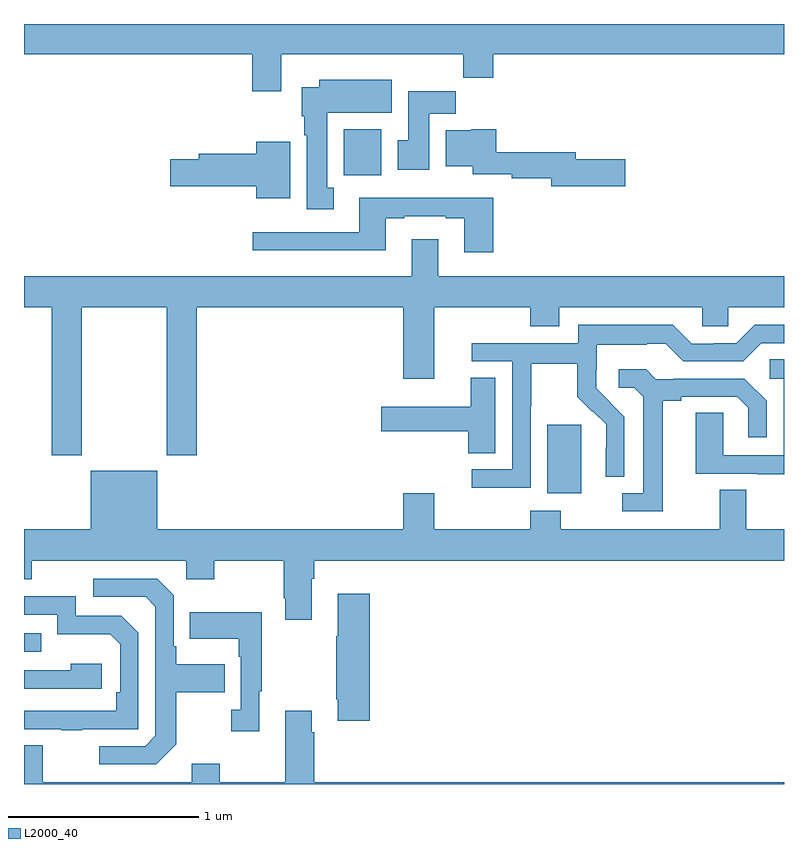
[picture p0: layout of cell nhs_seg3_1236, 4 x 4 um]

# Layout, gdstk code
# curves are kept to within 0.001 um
import gdstk
lib = gdstk.Library(unit=1e-6, precision=1e-09)
def R(c, l, rs):  # rectangles x0, y0, x1, y1
    for r in rs: c.add(gdstk.rectangle(r[:2], r[2:], *l))
def P(c, l, *ps):  # polygons
    for p in ps: c.add(gdstk.Polygon(p, *l))
L2000_40 = (2000, 40)

nhs_seg3_1236 = lib.new_cell('nhs_seg3_1236')
R(nhs_seg3_1236, L2000_40, [(175,707.097,175.091,707.193), (177.755,707.93,177.934,708.291), (176.684,709.604,176.881,709.846)])
P(nhs_seg3_1236, L2000_40, [(176.353,710.24),(177.313,710.24),(177.313,710.116),(177.47,710.116),(177.47,710.24),(179,710.24),(179,710.4),(175,710.4),(175,710.24),(176.201,710.24),(176.201,710.046),(176.353,710.046)],
  [(176.629,709.538),(176.596,709.538),(176.596,709.934),(176.935,709.934),(176.935,710.107),(176.555,710.107),(176.555,710.068),(176.462,710.068),(176.462,709.914),(176.474,709.914),(176.474,709.814),(176.489,709.814),(176.489,709.425),(176.629,709.425)],
  [(177.133,709.928),(177.272,709.928),(177.272,710.046),(177.023,710.046),(177.023,709.788),(176.966,709.788),(176.966,709.632),(177.133,709.632)],
  [(178.165,709.688),(177.904,709.688),(177.904,709.724),(177.485,709.724),(177.485,709.846),(177.354,709.846),(177.354,709.84),(177.221,709.84),(177.221,709.652),(177.362,709.652),(177.362,709.608),(177.568,709.608),(177.568,709.588),(177.776,709.588),(177.776,709.546),(178.165,709.546)],
  [(176.401,709.78),(176.222,709.78),(176.222,709.718),(175.919,709.718),(175.919,709.688),(175.77,709.688),(175.77,709.546),(176.222,709.546),(176.222,709.484),(176.401,709.484)],
  [(177.47,709.486),(176.765,709.486),(176.765,709.305),(176.205,709.305),(176.205,709.208),(176.905,709.208),(176.905,709.377),(177.001,709.377),(177.001,709.389),(177.221,709.389),(177.221,709.377),(177.317,709.377),(177.317,709.2),(177.47,709.2)],
  [(175.305,708.908),(175.75,708.908),(175.75,708.129),(175.91,708.129),(175.91,708.908),(176.996,708.908),(176.996,708.534),(177.16,708.534),(177.16,708.908),(177.665,708.908),(177.665,708.809),(177.817,708.809),(177.817,708.908),(178.569,708.908),(178.569,708.81),(178.707,708.81),(178.707,708.908),(179,708.908),(179,709.072),(177.181,709.072),(177.181,709.267),(177.041,709.267),(177.041,709.072),(175,709.072),(175,708.908),(175.145,708.908),(175.145,708.129),(175.305,708.129)],
  [(177.666,708.388),(177.669,708.388),(177.669,708.612),(177.913,708.612),(177.913,708.437),(177.99,708.36),(177.993,708.363),(178.064,708.293),(178.064,708.17),(178.062,708.17),(178.062,708.016),(178.158,708.016),(178.158,708.334),(178.012,708.482),(178.012,708.579),(178.014,708.579),(178.014,708.713),(178.277,708.713),(178.277,708.717),(178.377,708.717),(178.47,708.624),(178.785,708.624),(178.881,708.72),(179,708.72),(179,708.816),(178.845,708.816),(178.749,708.72),(178.631,708.72),(178.631,708.717),(178.515,708.717),(178.415,708.817),(177.918,708.817),(177.918,708.72),(177.357,708.72),(177.357,708.624),(177.57,708.624),(177.57,708.057),(177.357,708.057),(177.357,707.959),(177.666,707.959)],
  [(179,708.635),(178.926,708.635),(178.926,708.534),(178.998,708.534),(178.998,708.129),(178.68,708.129),(178.68,708.353),(178.535,708.353),(178.535,708.033),(178.859,708.033),(178.859,708.029),(179,708.029)],
  [(178.363,708.416),(178.459,708.416),(178.459,708.438),(178.754,708.438),(178.811,708.381),(178.811,708.225),(178.908,708.225),(178.908,708.418),(178.792,708.534),(178.42,708.534),(178.42,708.531),(178.326,708.531),(178.274,708.583),(178.131,708.583),(178.131,708.486),(178.212,708.486),(178.259,708.439),(178.259,707.931),(178.149,707.931),(178.149,707.835),(178.363,707.835)],
  [(177.481,708.539),(177.35,708.539),(177.35,708.385),(176.88,708.385),(176.88,708.256),(177.338,708.256),(177.338,708.142),(177.481,708.142)],
  [(176.515,707.48),(176.528,707.48),(176.528,707.576),(179,707.576),(179,707.74),(178.801,707.74),(178.801,707.948),(178.661,707.948),(178.661,707.74),(177.825,707.74),(177.825,707.839),(177.665,707.839),(177.665,707.74),(177.16,707.74),(177.16,707.929),(176.996,707.929),(176.996,707.74),(175.702,707.74),(175.702,708.049),(175.352,708.049),(175.352,707.74),(175,707.74),(175,707.477),(175.041,707.477),(175.041,707.576),(175.854,707.576),(175.854,707.477),(176.001,707.477),(176.001,707.576),(176.368,707.576),(176.368,707.377),(176.375,707.377),(176.375,707.265),(176.515,707.265)],
  [(175.801,706.609),(175.801,706.882),(176.057,706.882),(176.057,707.029),(175.801,707.029),(175.801,707.125),(175.788,707.125),(175.788,707.394),(175.701,707.481),(175.365,707.481),(175.365,707.385),(175.641,707.385),(175.692,707.334),(175.692,706.653),(175.638,706.599),(175.395,706.599),(175.395,706.503),(175.695,706.503)],
  [(176.819,707.401),(176.651,707.401),(176.651,707.177),(176.644,707.177),(176.644,706.846),(176.651,706.846),(176.651,706.734),(176.819,706.734)],
  [(175.307,706.689),(175.602,706.689),(175.602,707.196),(175.512,707.286),(175.272,707.286),(175.272,707.388),(175,707.388),(175,707.292),(175.176,707.292),(175.176,707.189),(175.453,707.189),(175.506,707.136),(175.506,706.882),(175.486,706.882),(175.486,706.785),(175,706.785),(175,706.689),(175.195,706.689),(175.195,706.684),(175.307,706.684)],
  [(176.239,706.889),(176.251,706.889),(176.251,707.305),(175.873,707.305),(175.873,707.165),(176.13,707.165),(176.13,707.069),(176.142,707.069),(176.142,706.79),(176.091,706.79),(176.091,706.677),(176.239,706.677)],
  [(175.408,707.032),(175.247,707.032),(175.247,706.998),(175,706.998),(175,706.902),(175.408,706.902)],
  [(179,706.408),(176.528,706.408),(176.528,706.673),(176.515,706.673),(176.515,706.786),(176.375,706.786),(176.375,706.408),(176.031,706.408),(176.031,706.507),(175.883,706.507),(175.883,706.408),(175.099,706.408),(175.099,706.603),(175,706.603),(175,706.4),(179,706.4)])

lib.write_gds('nhs_seg3_1236.gds')
